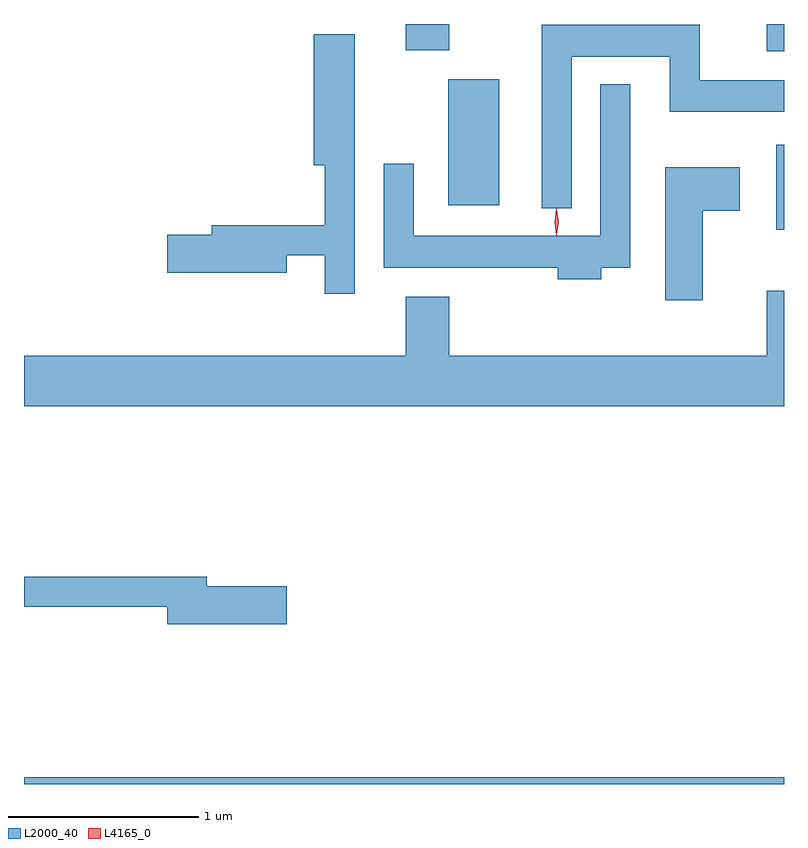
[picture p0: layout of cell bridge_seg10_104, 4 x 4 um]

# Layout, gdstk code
import gdstk
lib = gdstk.Library(unit=1e-6, precision=1e-09)
def R(c, l, rs):  # rectangles x0, y0, x1, y1
    for r in rs: c.add(gdstk.rectangle(r[:2], r[2:], *l))
def P(c, l, *ps):  # polygons
    for p in ps: c.add(gdstk.Polygon(p, *l))
L2000_40 = (2000, 40)
L4165_0 = (4165, 0)

bridge_seg10_104 = lib.new_cell('bridge_seg10_104')
R(bridge_seg10_104, L2000_40, [(1589.432,2127.469,1593.432,2127.504), (1593.391,2130.386,1593.432,2130.834), (1591.666,2130.516,1591.934,2131.179), (1593.341,2131.326,1593.432,2131.469), (1591.441,2131.331,1591.669,2131.469)])
P(bridge_seg10_104, L2000_40, [(1592.314,2131.296),(1592.831,2131.296),(1592.831,2131.006),(1593.432,2131.006),(1593.432,2131.174),(1592.989,2131.174),(1592.989,2131.464),(1592.156,2131.464),(1592.156,2130.498),(1592.314,2130.498)],
  [(1591.174,2131.414),(1590.956,2131.414),(1590.956,2130.726),(1591.016,2130.726),(1591.016,2130.409),(1590.421,2130.409),(1590.421,2130.359),(1590.186,2130.359),(1590.186,2130.161),(1590.814,2130.161),(1590.814,2130.251),(1591.016,2130.251),(1591.016,2130.048),(1591.174,2130.048)],
  [(1592.469,2130.186),(1592.624,2130.186),(1592.624,2131.153),(1592.466,2131.153),(1592.466,2130.354),(1591.484,2130.354),(1591.484,2130.733),(1591.326,2130.733),(1591.326,2130.186),(1592.241,2130.186),(1592.241,2130.126),(1592.469,2130.126)],
  [(1593.004,2130.486),(1593.199,2130.486),(1593.199,2130.714),(1592.806,2130.714),(1592.806,2130.016),(1593.004,2130.016)],
  [(1593.432,2130.064),(1593.341,2130.064),(1593.341,2129.724),(1591.669,2129.724),(1591.669,2130.034),(1591.441,2130.034),(1591.441,2129.724),(1589.432,2129.724),(1589.432,2129.456),(1593.432,2129.456)],
  [(1590.814,2128.509),(1590.394,2128.509),(1590.394,2128.559),(1589.432,2128.559),(1589.432,2128.401),(1590.186,2128.401),(1590.186,2128.311),(1590.814,2128.311)])
P(bridge_seg10_104, L4165_0, [(1592.236,2130.36),(1592.227,2130.426),(1592.236,2130.492),(1592.236,2130.493),(1592.237,2130.492),(1592.247,2130.426),(1592.237,2130.36),(1592.237,2130.36)],
  [(1592.234,2130.357),(1592.225,2130.426),(1592.234,2130.496),(1592.235,2130.496),(1592.235,2130.496),(1592.245,2130.426),(1592.235,2130.357),(1592.235,2130.357)])

lib.write_gds('bridge_seg10_104.gds')
